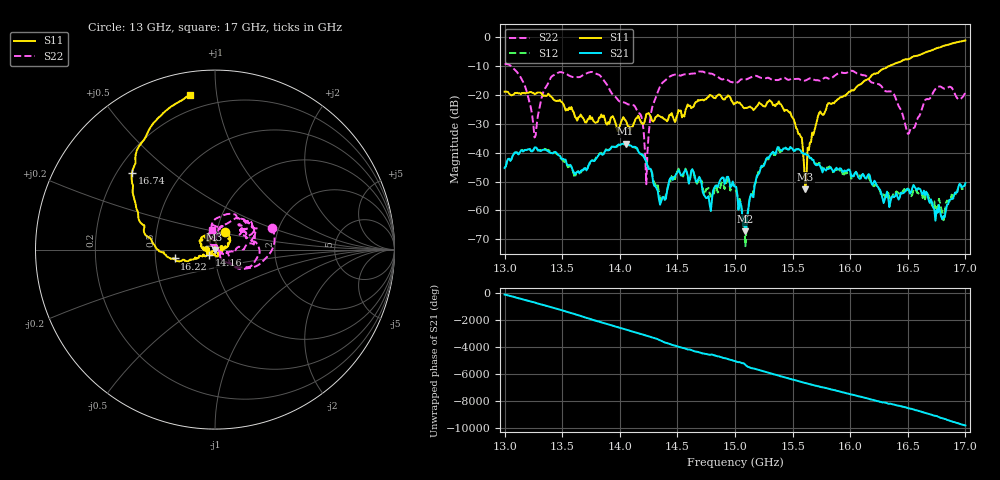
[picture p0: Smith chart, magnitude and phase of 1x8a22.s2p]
!Keysight Technologies,P9374A,MY57211807,A.19.30.04
!Date: Friday, May 08, 2026 14:12:17
!Correction: S11(C  2-Port  )
!S21(C  2-Port  )
!S12(C  2-Port  )
!S22(C  2-Port  )
!S2P File: Measurements: S11, S21, S12, S22:
# Hz S  dB  R 50
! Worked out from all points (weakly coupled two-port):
!   401 points, 13 GHz to 17 GHz, reference 50 ohm
!   highest |S21| = -36.89 dB at 14.05 GHz (marker M1); lowest = -67.2 dB at 15.09 GHz (marker M2)
!   lowest |S11| = -52.7 dB at 15.61 GHz (marker M3), VSWR 1.00, Z = 49.8 + j0.00684 ohm
!   |S11| at or under -10 dB: start of sweep to 16.34 GHz
!   |S22| runs from -50.9 to -9.3 dB; largest |S21 - S12| = 0.0012
!   S11 on the Smith chart (normalised r, x): 13 GHz: 1.10, +0.22; 14.16 GHz: 0.93, -0.05; 16.22 GHz: 0.63, -0.07; 16.74 GHz: 0.26, +0.37; 17 GHz: 0.12, +0.84
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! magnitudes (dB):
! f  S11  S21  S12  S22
! 13 GHz  -18.9  -45.3  -45.2  -9.3
! 13.16 GHz  -19.4  -39.6  -39.5  -15.5
! 13.26 GHz  -19.8  -38.2  -38.2  -34.7
! 13.41 GHz  -20.8  -40.1  -39.8  -13.6
! 13.67 GHz  -27.5  -46.1  -46.3  -13.5
! 14.05 GHz  -28.8  -36.9  -37.1  -22.8
! 14.16 GHz  -27.2  -39.5  -39.5  -26.2
! 14.23 GHz  -26.7  -43.2  -43.1  -50.9
! 14.34 GHz  -27.3  -56.1  -54.0  -18.0
! 14.51 GHz  -25.3  -46.1  -45.5  -13.2
! 14.77 GHz  -20.8  -55.1  -52.2  -12.5
! 15 GHz  -22.8  -51.8  -52.1  -15.9
! 15.09 GHz  -24.5  -67.2  -72.4  -14.7
! 15.28 GHz  -22.5  -41.7  -42.3  -14.1
! 15.49 GHz  -27.3  -38.4  -38.3  -14.5
! 15.61 GHz  -52.7  -40.4  -40.4  -15.1
! 15.67 GHz  -33.1  -42.5  -42.4  -14.5
! 16.22 GHz  -12.8  -50.3  -50.9  -16.1
! 16.34 GHz  -10.1  -58.9  -55.4  -18.8
! 16.51 GHz  -7.6  -53.0  -52.6  -33.4
! 16.74 GHz  -4.0  -63.6  -59.9  -18.0
! 17 GHz  -1.2  -50.6  -51.2  -19.3
